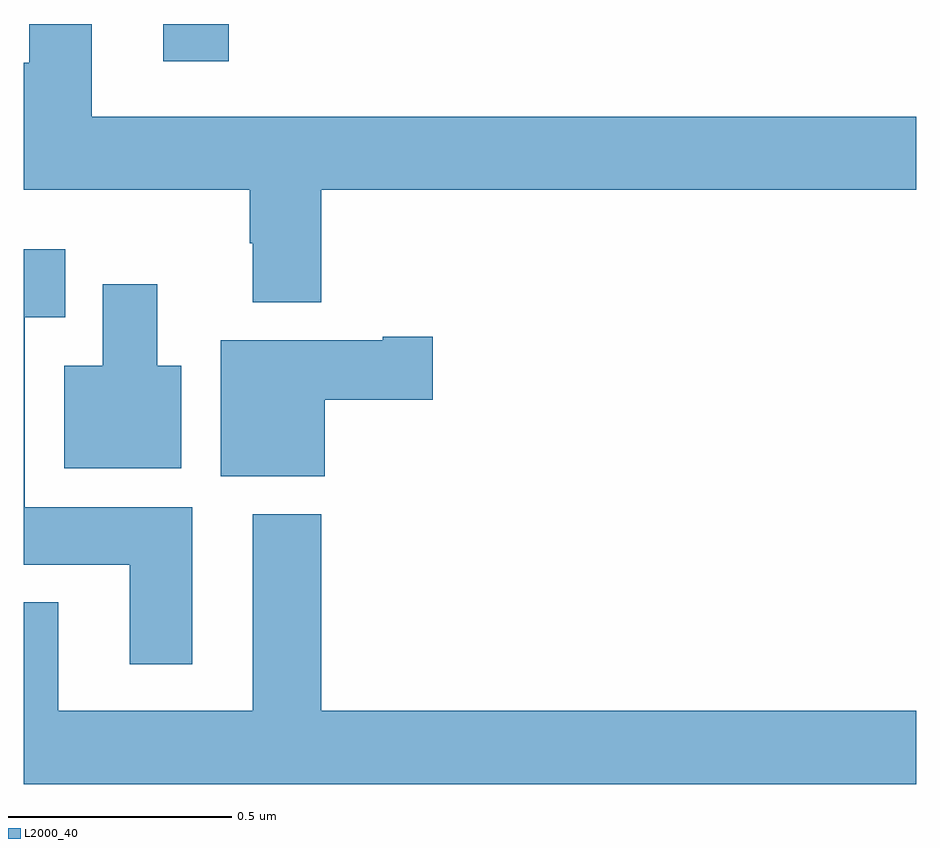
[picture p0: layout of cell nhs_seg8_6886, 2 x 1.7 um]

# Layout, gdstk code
import gdstk
lib = gdstk.Library(unit=1e-6, precision=1e-09)
def R(c, l, rs):  # rectangles x0, y0, x1, y1
    for r in rs: c.add(gdstk.rectangle(r[:2], r[2:], *l))
def P(c, l, *ps):  # polygons
    for p in ps: c.add(gdstk.Polygon(p, *l))
L2000_40 = (2000, 40)

nhs_seg8_6886 = lib.new_cell('nhs_seg8_6886')
R(nhs_seg8_6886, L2000_40, [(203.312,1088.817,203.459,1088.9)])
P(nhs_seg8_6886, L2000_40, [(203.666,1088.528),(205,1088.528),(205,1088.692),(203.152,1088.692),(203.152,1088.9),(203.012,1088.9),(203.012,1088.813),(203,1088.813),(203,1088.528),(203.506,1088.528),(203.506,1088.408),(203.513,1088.408),(203.513,1088.276),(203.666,1088.276)],
  [(203.377,1087.816),(203.002,1087.816),(203.002,1088.243),(203.092,1088.243),(203.092,1088.395),(203,1088.395),(203,1087.688),(203.237,1087.688),(203.237,1087.464),(203.377,1087.464)],
  [(203.353,1088.134),(203.299,1088.134),(203.299,1088.317),(203.177,1088.317),(203.177,1088.134),(203.09,1088.134),(203.09,1087.904),(203.353,1087.904)],
  [(203.674,1088.057),(203.917,1088.057),(203.917,1088.199),(203.804,1088.199),(203.804,1088.191),(203.441,1088.191),(203.441,1087.886),(203.674,1087.886)],
  [(205,1087.36),(203.666,1087.36),(203.666,1087.801),(203.513,1087.801),(203.513,1087.36),(203.077,1087.36),(203.077,1087.603),(203,1087.603),(203,1087.196),(205,1087.196)])

lib.write_gds('nhs_seg8_6886.gds')
